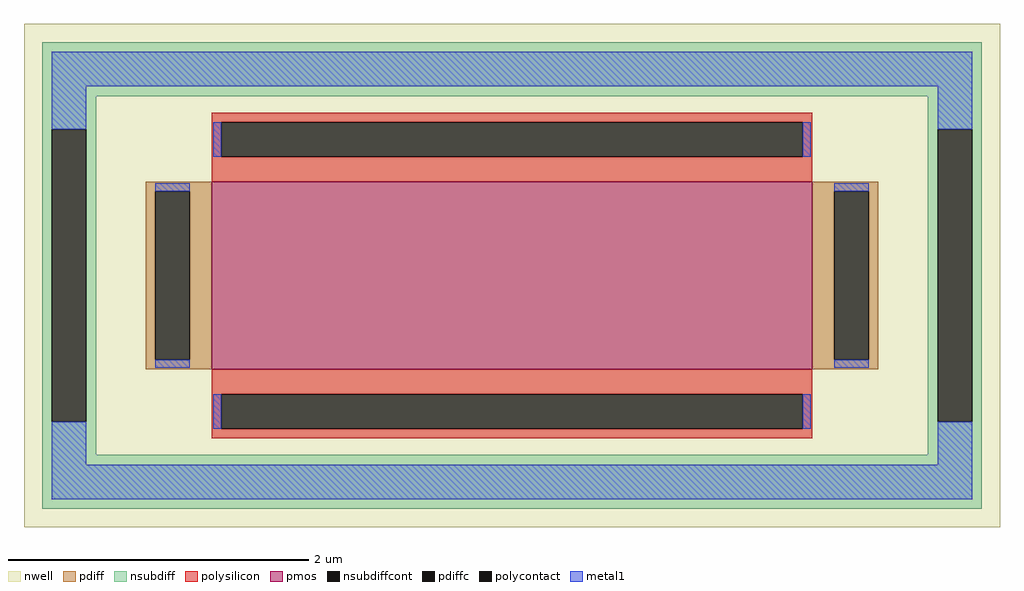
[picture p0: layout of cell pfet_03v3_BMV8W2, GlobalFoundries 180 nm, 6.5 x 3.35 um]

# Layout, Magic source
magic
tech gf180mcuD
magscale 1 10
<< nwell >>
rect -650 -335 650 335
<< pmos >>
rect -400 -125 400 125
<< pdiff >>
rect -488 112 -400 125
rect -488 -112 -475 112
rect -429 -112 -400 112
rect -488 -125 -400 -112
rect 400 112 488 125
rect 400 -112 429 112
rect 475 -112 488 112
rect 400 -125 488 -112
<< pdiffc >>
rect -475 -112 -429 112
rect 429 -112 475 112
<< nsubdiff >>
rect -626 239 626 311
rect -626 195 -554 239
rect -626 -195 -613 195
rect -567 -195 -554 195
rect 554 195 626 239
rect -626 -239 -554 -195
rect 554 -195 567 195
rect 613 -195 626 195
rect 554 -239 626 -195
rect -626 -311 626 -239
<< nsubdiffcont >>
rect -613 -195 -567 195
rect 567 -195 613 195
<< polysilicon >>
rect -400 204 400 217
rect -400 158 -387 204
rect 387 158 400 204
rect -400 125 400 158
rect -400 -158 400 -125
rect -400 -204 -387 -158
rect 387 -204 400 -158
rect -400 -217 400 -204
<< polycontact >>
rect -387 158 387 204
rect -387 -204 387 -158
<< metal1 >>
rect -613 252 613 298
rect -613 195 -567 252
rect -398 158 -387 204
rect 387 158 398 204
rect 567 195 613 252
rect -475 112 -429 123
rect -475 -123 -429 -112
rect 429 112 475 123
rect 429 -123 475 -112
rect -613 -252 -567 -195
rect -398 -204 -387 -158
rect 387 -204 398 -158
rect 567 -252 613 -195
rect -613 -298 613 -252
<< properties >>
string FIXED_BBOX -590 -275 590 275
string gencell pfet_03v3
string library gf180mcu
string parameters w 1.25 l 4 m 1 nf 1 diffcov 100 polycov 100 guard 1 glc 1 grc 1 gtc 0 gbc 0 tbcov 100 rlcov 100 topc 1 botc 1 poverlap 0 doverlap 1 lmin 0.28 wmin 0.22 class mosfet full_metal 1 compatible {pfet_03v3 pfet_05v0 pfet_06v0}
<< end >>
